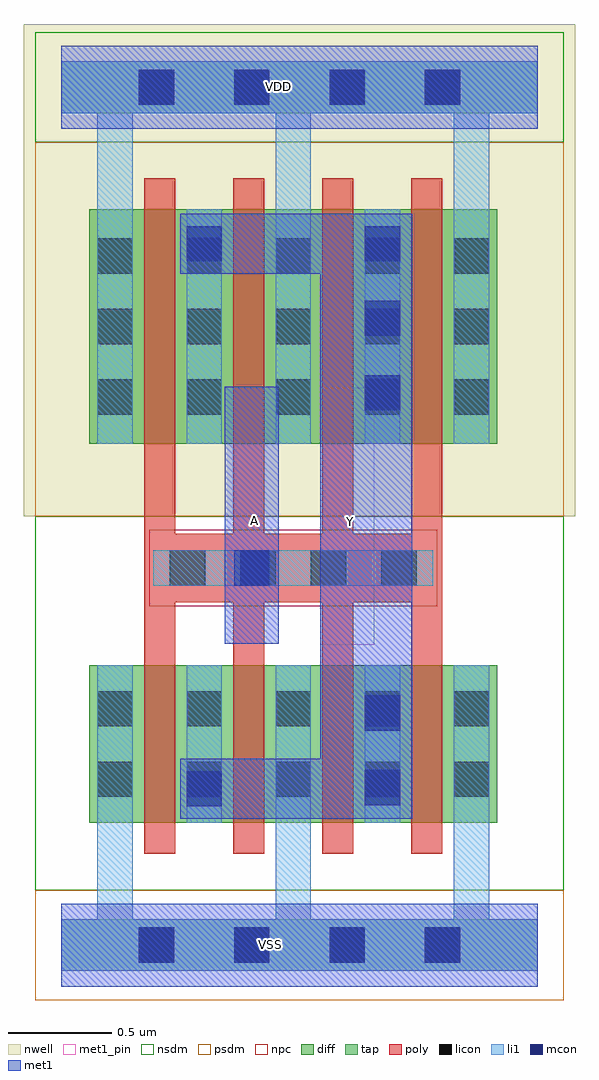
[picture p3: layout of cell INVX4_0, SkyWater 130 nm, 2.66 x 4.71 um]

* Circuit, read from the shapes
.subckt INVX4_0 A VDD VSS Y
XM1 Y A VSS VSS sky130_fd_pr__nfet_01v8 w=0.76 l=0.15 m=4
XM2 Y A VDD VDD sky130_fd_pr__pfet_01v8 w=1.13 l=0.15 m=4
.ends

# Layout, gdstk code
import gdstk
lib = gdstk.Library(unit=1e-6, precision=1e-09)
def R(c, l, rs):  # rectangles x0, y0, x1, y1
    for r in rs: c.add(gdstk.rectangle(r[:2], r[2:], *l))
def A(c, l, x, y, w, h, nx, ny, dx, dy):  # array of equal rectangles
    R(c, l, [(x+i*dx, y+j*dy, x+i*dx+w, y+j*dy+h) for i in range(nx) for j in range(ny)])
def P(c, l, *ps):  # polygons
    for p in ps: c.add(gdstk.Polygon(p, *l))
nwell = (64, 20)
diff = (65, 20)
tap = (65, 44)
poly = (66, 20)
licon = (66, 44)
li1 = (67, 20)
mcon = (67, 44)
met1_pin = (68, 16)
met1 = (68, 20)
nsdm = (93, 44)
psdm = (94, 20)
npc = (95, 20)

pyl1con_c_cdns_751554744 = lib.new_cell('PYL1CON_C_CDNS_751554744751')
R(pyl1con_c_cdns_751554744, poly, [(-0.135,-0.165,0.135,0.165)])
R(pyl1con_c_cdns_751554744, licon, [(-0.085,-0.085,0.085,0.085)])
R(pyl1con_c_cdns_751554744, npc, [(-0.185,-0.185,0.185,0.185)])

invx4_0 = lib.new_cell('INVX4_0')
R(invx4_0, nwell, [(-0.18,2.07,2.48,4.445)])
R(invx4_0, diff, [(0.135,0.59,2.105,1.35), (0.135,2.42,2.105,3.55)])
P(invx4_0, poly, [(1.84,3.7),(1.69,3.7),(1.69,1.985),(1.41,1.985),(1.41,3.7),(1.26,3.7),(1.26,1.985),(0.98,1.985),(0.98,3.7),(0.83,3.7),(0.83,1.985),(0.55,1.985),(0.55,3.7),(0.4,3.7),(0.4,0.44),(0.55,0.44),(0.55,1.655),(0.83,1.655),(0.83,0.44),(0.98,0.44),(0.98,1.655),(1.26,1.655),(1.26,0.44),(1.41,0.44),(1.41,1.655),(1.69,1.655),(1.69,0.44),(1.84,0.44)])
A(invx4_0, licon, 0.375, -0.085, 0.17, 0.17, 4, 2, 0.46, 4.14)
A(invx4_0, licon, 0.175, 0.715, 0.17, 0.17, 5, 2, 0.43, 0.34)
A(invx4_0, licon, 0.175, 2.56, 0.17, 0.17, 5, 3, 0.43, 0.34)
R(invx4_0, li1, [(0.605,0.59,0.775,0.92), (0.605,0.59,0.775,1.35), (1.465,0.59,1.635,1.35), (1.465,0.595,1.635,1.285), (0.755,1.735,1.085,1.905), (0.605,2.42,0.775,3.55), (1.465,2.42,1.635,3.55), (1.465,2.5,1.635,3.55), (0.605,3.22,0.775,3.55)])
P(invx4_0, li1, [(2.3,0.125),(2.065,0.125),(2.065,1.35),(1.895,1.35),(1.895,0.125),(1.205,0.125),(1.205,1.35),(1.035,1.35),(1.035,0.125),(0.345,0.125),(0.345,1.35),(0.175,1.35),(0.175,0.125),(0,0.125),(0,-0.125),(2.3,-0.125)],
  [(2.3,4.265),(0,4.265),(0,4.015),(0.175,4.015),(0.175,2.42),(0.345,2.42),(0.345,4.015),(1.035,4.015),(1.035,2.42),(1.205,2.42),(1.205,4.015),(1.895,4.015),(1.895,2.42),(2.065,2.42),(2.065,4.015),(2.3,4.015)])
A(invx4_0, mcon, 0.375, -0.085, 0.17, 0.17, 4, 2, 0.46, 4.14)
A(invx4_0, mcon, 1.465, 2.58, 0.17, 0.17, 1, 3, 0, 0.36)
R(invx4_0, mcon, [(0.605,0.67,0.775,0.84), (1.465,0.675,1.635,0.845), (1.465,1.035,1.635,1.205), (0.835,1.735,1.005,1.905), (0.605,3.3,0.775,3.47)])
R(invx4_0, met1_pin, [(1.25,1.45,1.51,2.69), (0.79,1.455,1.05,2.695)])
R(invx4_0, met1, [(0.575,0.61,0.805,0.9), (1.435,0.615,1.665,1.265), (0.805,1.675,1.035,1.965), (1.435,2.52,1.665,3.53), (0.575,3.24,0.805,3.53)])
P(invx4_0, met1, [(1.695,3.53),(0.69,3.53),(0.69,3.24),(1.25,3.24),(1.25,0.9),(0.69,0.9),(0.69,0.61),(1.695,0.61)])
R(invx4_0, nsdm, [(-0.125,0.265,2.425,2.07), (-0.125,3.875,2.425,4.405)])
R(invx4_0, psdm, [(-0.125,-0.265,2.425,0.265), (-0.125,2.07,2.425,3.875)])
R(invx4_0, npc, [(0.425,1.635,1.815,2.005)])
invx4_0.add(gdstk.FlexPath([(0.445,1.82),(1.795,1.82)], 0.17, ends="flush", simple_path=True, layer=67, datatype=20))  # li1
invx4_0.add(gdstk.FlexPath([(0.92,1.455),(0.92,2.695)], 0.26, ends="flush", simple_path=True, layer=68, datatype=20))  # met1
invx4_0.add(gdstk.FlexPath([(0,4.14),(2.3,4.14)], 0.4, ends="flush", simple_path=True, layer=68, datatype=20))  # met1
invx4_0.add(gdstk.FlexPath([(0,0),(2.3,0)], 0.4, ends="flush", simple_path=True, layer=68, datatype=20))  # met1
invx4_0.add(gdstk.FlexPath([(0,0),(2.3,0)], 0.4, ends="flush", simple_path=True, layer=68, datatype=16))  # met1_pin
invx4_0.add(gdstk.FlexPath([(0,4.14),(2.3,4.14)], 0.4, ends="flush", simple_path=True, layer=68, datatype=16))  # met1_pin
invx4_0.add(gdstk.FlexPath([(0,0),(2.3,0)], 0.25, ends="flush", simple_path=True, layer=65, datatype=44))  # tap
invx4_0.add(gdstk.FlexPath([(0,4.14),(2.3,4.14)], 0.25, ends="flush", simple_path=True, layer=65, datatype=44))  # tap
invx4_0.add(gdstk.Reference(pyl1con_c_cdns_751554744, (0.61,1.82)))
invx4_0.add(gdstk.Reference(pyl1con_c_cdns_751554744, (0.95,1.82)))
invx4_0.add(gdstk.Reference(pyl1con_c_cdns_751554744, (1.29,1.82)))
invx4_0.add(gdstk.Reference(pyl1con_c_cdns_751554744, (1.63,1.82)))
invx4_0.add(gdstk.Label('VSS', (1.01,0.005), layer=68, texttype=5))
invx4_0.add(gdstk.Label('Y', (1.395,2.045), layer=68, texttype=5))
invx4_0.add(gdstk.Label('A', (0.935,2.05), layer=68, texttype=5))
invx4_0.add(gdstk.Label('VDD', (1.05,4.145), layer=68, texttype=5))

lib.write_gds('INVX4_0.gds')
